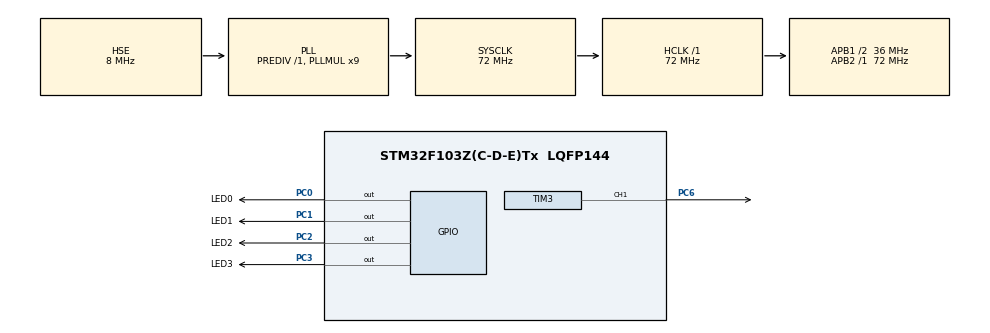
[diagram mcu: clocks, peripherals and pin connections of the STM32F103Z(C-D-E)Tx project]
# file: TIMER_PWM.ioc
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Mcu.Family=STM32F1
Mcu.Name=STM32F103Z(C-D-E)Tx
Mcu.Package=LQFP144
NVIC.PriorityGroup=NVIC_PRIORITYGROUP_4
NVIC.TIM2_IRQn=true\:0\:0\:false\:false\:true\:true\:true
NVIC.TIM3_IRQn=true\:0\:0\:false\:false\:true\:true\:true
OSC_IN.Mode=HSE-External-Oscillator
OSC_IN.Signal=RCC_OSC_IN
OSC_OUT.Mode=HSE-External-Oscillator
OSC_OUT.Signal=RCC_OSC_OUT
PA13.Mode=Serial_Wire
PA13.Signal=SYS_JTMS-SWDIO
PA14.Mode=Serial_Wire
PA14.Signal=SYS_JTCK-SWCLK
PC0.GPIO_Label=LED0
PC0.GPIO_ModeDefaultOutputPP=GPIO_MODE_OUTPUT_PP
PC0.GPIO_PuPd=GPIO_NOPULL
PC0.GPIO_Speed=GPIO_SPEED_FREQ_LOW
PC0.PinState=GPIO_PIN_SET
PC0.Signal=GPIO_Output
PC1.GPIO_Label=LED1
PC1.GPIO_ModeDefaultOutputPP=GPIO_MODE_OUTPUT_PP
PC1.GPIO_PuPd=GPIO_NOPULL
PC1.GPIO_Speed=GPIO_SPEED_FREQ_LOW
PC1.PinState=GPIO_PIN_SET
PC1.Signal=GPIO_Output
PC2.GPIO_Label=LED2
PC2.GPIO_ModeDefaultOutputPP=GPIO_MODE_OUTPUT_PP
PC2.GPIO_PuPd=GPIO_NOPULL
PC2.GPIO_Speed=GPIO_SPEED_FREQ_LOW
PC2.PinState=GPIO_PIN_SET
PC2.Signal=GPIO_Output
PC3.GPIO_Label=LED3
PC3.GPIO_ModeDefaultOutputPP=GPIO_MODE_OUTPUT_PP
PC3.GPIO_PuPd=GPIO_NOPULL
PC3.GPIO_Speed=GPIO_SPEED_FREQ_LOW
PC3.PinState=GPIO_PIN_SET
PC3.Signal=GPIO_Output
PC6.Signal=S_TIM3_CH1
ProjectManager.HeapSize=0x200
ProjectManager.StackSize=0x400
ProjectManager.TargetToolchain=MDK-ARM V5.27
RCC.AHBFreq_Value=72000000
RCC.APB1CLKDivider=RCC_HCLK_DIV2
RCC.APB1Freq_Value=36000000
RCC.APB1TimFreq_Value=72000000
RCC.APB2Freq_Value=72000000
RCC.APB2TimFreq_Value=72000000
RCC.HCLKFreq_Value=72000000
RCC.PLLMUL=RCC_PLL_MUL9
RCC.PLLSourceVirtual=RCC_PLLSOURCE_HSE
RCC.SYSCLKFreq_VALUE=72000000
RCC.SYSCLKSource=RCC_SYSCLKSOURCE_PLLCLK
RCC.USBFreq_Value=72000000
SH.S_TIM3_CH1.0=TIM3_CH1,PWM Generation1 CH1
TIM2.Period=10000 -1
TIM2.Prescaler=72 -1
TIM3.AutoReloadPreload=TIM_AUTORELOAD_PRELOAD_ENABLE
TIM3.Channel-PWM\ Generation1\ CH1=TIM_CHANNEL_1
TIM3.OCFastMode_PWM-PWM\ Generation1\ CH1=TIM_OCFAST_DISABLE
TIM3.OCPolarity_1=TIM_OCPOLARITY_HIGH
TIM3.Period=500-1
TIM3.Prescaler=72-1
TIM3.Pulse-PWM\ Generation1\ CH1=0
VP_TIM2_VS_ClockSourceINT.Mode=Internal
VP_TIM3_VS_ClockSourceINT.Mode=Internal
board=custom

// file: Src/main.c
/* USER CODE BEGIN Header */
/**
  ******************************************************************************
  * @file           : main.c
  * @brief          : Main program body
  ******************************************************************************
  * @attention
  *
  * <h2><center>&copy; Copyright (c) 2020 STMicroelectronics.
  * All rights reserved.</center></h2>
  *
  * This software component is licensed by ST under BSD 3-Clause license,
  * the "License"; You may not use this file except in compliance with the
  * License. You may obtain a copy of the License at:
  *                        opensource.org/licenses/BSD-3-Clause
  *
  ******************************************************************************
  */
/* USER CODE END Header */

#include "main.h"
#include "tim.h"
#include "gpio.h"

void SystemClock_Config(void);

int main(void)
{

  /* MCU Configuration--------------------------------------------------------*/

  /* Reset of all peripherals, Initializes the Flash interface and the Systick. */
  HAL_Init();

  /* Configure the system clock */
  SystemClock_Config();

  /* Initialize all configured peripherals */
  MX_GPIO_Init();
  MX_TIM3_Init();
  MX_TIM2_Init();
  /* USER CODE BEGIN 2 */
	HAL_TIM_Base_Start_IT(&htim2);
	HAL_TIM_PWM_Start(&htim3, TIM_CHANNEL_1);
  /* USER CODE END 2 */

  /* Infinite loop */
  while (1)
  {

  }
}

void SystemClock_Config(void)
{
  RCC_OscInitTypeDef RCC_OscInitStruct = {0};
  RCC_ClkInitTypeDef RCC_ClkInitStruct = {0};

  /** Initializes the CPU, AHB and APB busses clocks
  */
  RCC_OscInitStruct.OscillatorType = RCC_OSCILLATORTYPE_HSE;
  RCC_OscInitStruct.HSEState = RCC_HSE_ON;
  RCC_OscInitStruct.HSEPredivValue = RCC_HSE_PREDIV_DIV1;
  RCC_OscInitStruct.HSIState = RCC_HSI_ON;
  RCC_OscInitStruct.PLL.PLLState = RCC_PLL_ON;
  RCC_OscInitStruct.PLL.PLLSource = RCC_PLLSOURCE_HSE;
  RCC_OscInitStruct.PLL.PLLMUL = RCC_PLL_MUL9;
  if (HAL_RCC_OscConfig(&RCC_OscInitStruct) != HAL_OK)
  {
    Error_Handler();
  }
  /** Initializes the CPU, AHB and APB busses clocks
  */
  RCC_ClkInitStruct.ClockType = RCC_CLOCKTYPE_HCLK|RCC_CLOCKTYPE_SYSCLK
                              |RCC_CLOCKTYPE_PCLK1|RCC_CLOCKTYPE_PCLK2;
  RCC_ClkInitStruct.SYSCLKSource = RCC_SYSCLKSOURCE_PLLCLK;
  RCC_ClkInitStruct.AHBCLKDivider = RCC_SYSCLK_DIV1;
  RCC_ClkInitStruct.APB1CLKDivider = RCC_HCLK_DIV2;
  RCC_ClkInitStruct.APB2CLKDivider = RCC_HCLK_DIV1;

  if (HAL_RCC_ClockConfig(&RCC_ClkInitStruct, FLASH_LATENCY_2) != HAL_OK)
  {
    Error_Handler();
  }
}

/* USER CODE BEGIN 4 */

void HAL_TIM_PeriodElapsedCallback(TIM_HandleTypeDef *htim)
{
	if(htim->Instance == htim2.Instance)
	{
		static int light_counter = 0;
		static uint8_t light_flag = 1;
		static uint16_t i = 0;
		if(++i == 4)
		{
			i = 0;

			if(light_flag)
				__HAL_TIM_SET_COMPARE(&htim3, TIM_CHANNEL_1, (light_counter++) * 10);
			else
				__HAL_TIM_SET_COMPARE(&htim3, TIM_CHANNEL_1, (light_counter--) *10);
			if(light_flag && light_counter > 50)
				light_flag = 0, light_counter = 50;
			else if(!light_flag && light_counter < 0)
				light_flag = 1, light_counter = 0;
		}
	}
}
/* USER CODE END 4 */

void Error_Handler(void)
{
}

/************************ (C) COPYRIGHT STMicroelectronics *****END OF FILE****/
